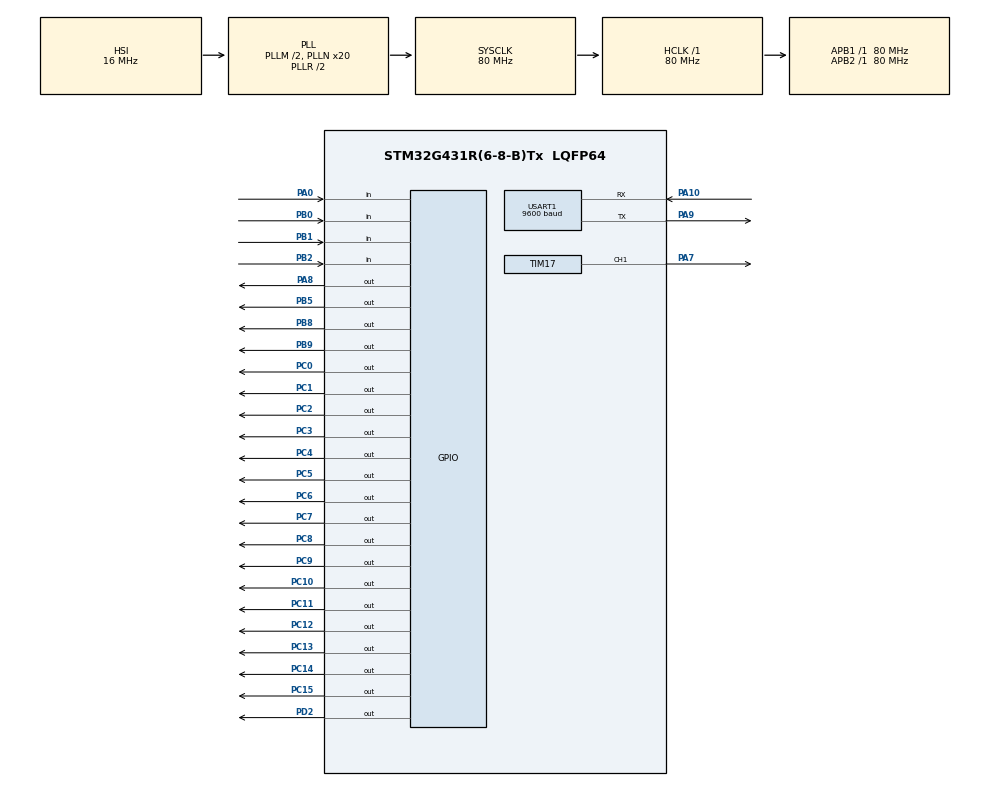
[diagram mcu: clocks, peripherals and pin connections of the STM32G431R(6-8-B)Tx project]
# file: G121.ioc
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Mcu.Family=STM32G4
Mcu.Name=STM32G431R(6-8-B)Tx
Mcu.Package=LQFP64
NVIC.PriorityGroup=NVIC_PRIORITYGROUP_4
NVIC.USART1_IRQn=true\:0\:0\:false\:false\:true\:true\:true\:true
PA0.Signal=GPIO_Input
PA10.Mode=Asynchronous
PA10.Signal=USART1_RX
PA7.Signal=S_TIM17_CH1
PA8.Signal=GPIO_Output
PA9.Mode=Asynchronous
PA9.Signal=USART1_TX
PB0.Signal=GPIO_Input
PB1.Signal=GPIO_Input
PB2.Signal=GPIO_Input
PB5.Signal=GPIO_Output
PB8-BOOT0.Signal=GPIO_Output
PB9.Signal=GPIO_Output
PC0.Signal=GPIO_Output
PC1.Signal=GPIO_Output
PC10.Signal=GPIO_Output
PC11.Signal=GPIO_Output
PC12.Signal=GPIO_Output
PC13.Signal=GPIO_Output
PC14-OSC32_IN.Signal=GPIO_Output
PC15-OSC32_OUT.Signal=GPIO_Output
PC2.Signal=GPIO_Output
PC3.Signal=GPIO_Output
PC4.Signal=GPIO_Output
PC5.Signal=GPIO_Output
PC6.Signal=GPIO_Output
PC7.Signal=GPIO_Output
PC8.Signal=GPIO_Output
PC9.Signal=GPIO_Output
PD2.Signal=GPIO_Output
PF0-OSC_IN.Mode=HSE-External-Oscillator
PF0-OSC_IN.Signal=RCC_OSC_IN
PF1-OSC_OUT.Mode=HSE-External-Oscillator
PF1-OSC_OUT.Signal=RCC_OSC_OUT
ProjectManager.HeapSize=0x200
ProjectManager.StackSize=0x400
ProjectManager.TargetToolchain=MDK-ARM V5
RCC.ADC12Freq_Value=80000000
RCC.AHBFreq_Value=80000000
RCC.APB1Freq_Value=80000000
RCC.APB1TimFreq_Value=80000000
RCC.APB2Freq_Value=80000000
RCC.APB2TimFreq_Value=80000000
RCC.CortexFreq_Value=80000000
RCC.EXTERNAL_CLOCK_VALUE=12288000
RCC.HCLKFreq_Value=80000000
RCC.HSE_VALUE=24000000
RCC.HSI48_VALUE=48000000
RCC.HSI_VALUE=16000000
RCC.LSE_VALUE=32768
RCC.PLLM=RCC_PLLM_DIV2
RCC.PLLN=20
RCC.SYSCLKFreq_VALUE=80000000
RCC.SYSCLKSource=RCC_SYSCLKSOURCE_PLLCLK
RCC.USBFreq_Value=80000000
RCC.VCOOutputFreq_Value=160000000
SH.S_TIM17_CH1.0=TIM17_CH1,PWM Generation1 CH1
TIM17.Channel=TIM_CHANNEL_1
TIM17.PeriodNoDither=999
TIM17.Prescaler=79
TIM17.PulseNoDither_1=500
USART1.BaudRate=9600
USART1.VirtualMode-Asynchronous=VM_ASYNC
VP_SYS_VS_DBSignals.Mode=DisableDeadBatterySignals
VP_TIM17_VS_ClockSourceINT.Mode=Enable_Timer
board=custom

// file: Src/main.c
/* USER CODE BEGIN Header */
/**
  ******************************************************************************
  * @file           : main.c
  * @brief          : Main program body
  ******************************************************************************
  * @attention
  *
  * <h2><center>&copy; Copyright (c) 2021 STMicroelectronics.
  * All rights reserved.</center></h2>
  *
  * This software component is licensed by ST under BSD 3-Clause license,
  * the "License"; You may not use this file except in compliance with the
  * License. You may obtain a copy of the License at:
  *                        opensource.org/licenses/BSD-3-Clause
  *
  ******************************************************************************
  */
/* USER CODE END Header */

#include "main.h"
#include "tim.h"
#include "usart.h"
#include "gpio.h"

/* USER CODE BEGIN Includes */
#include "led.h"
#include "key.h"
#include "stdio.h"
#include "string.h"
#include "math.h"

/* USER CODE END Includes */

void SystemClock_Config(void);

/* USER CODE BEGIN 0 */
#define Display_Data 0
#define Display_Para 1

u8 Dispaly_Mode = 0;

//1

u8 CNBR = 0;
u8 VNBR = 0;
u8 IDLE = 8;

//2

double CNBR_F = 3.5;
double VNBR_F = 2.0;

//PWM
_Bool pwm_flag = 1;

//计费系统
typedef struct
{
	u8 type[5];//这里数据个数必须必存放数据大一位，最后一位用来结束该地址储存
	u8 code[5];

	u8 in_year;
	u8 in_mouth;
	u8 in_day;
	u8 in_hour;
	u8 in_min;
	u8 in_sec;
	u8 pos; //该车的当前车位
}car;

car in_car[10] = {0};//存放每个入库车的数据

//KEY
uint32_t keyTick = 0;
void Key_Process(void)
{
	if(uwTick - keyTick < 20) return;
	keyTick = uwTick;
	Key_Read();

	if(Trg & 0x01)
	{
		LCD_Clear(Black);
		Dispaly_Mode = (Dispaly_Mode + 1) % 2;
	}

	if(Trg & 0x02)
	{
		if(Dispaly_Mode == Display_Para)
		{
			CNBR_F += 0.5;
			VNBR_F +=0.5;
		}
	}

	if(Trg & 0x04)
	{
		if(Dispaly_Mode == Display_Para)
		{

			CNBR_F -= 0.5;
			VNBR_F -=0.5; //减到0
			if(VNBR_F < 0)
			{
				CNBR_F = 1.5;
				VNBR_F =0;
			}

		}
	}

	if(Trg & 0x08)
		pwm_flag = !pwm_flag;

}

//PA7
void PWM_Process(void)
{
	if(pwm_flag == 0)
	{
		TIM17->ARR = 499;
	  TIM17->CCR1 = (TIM17->ARR + 1)* 0.2;
	}
	else
	{
		TIM17->ARR = 499;
	  TIM17->CCR1 = 0; //输出高低电平，直接写0和写满比较保险

		//or
		//HAL_GPIO_WritePin(GPIOA,GPIO_PIN_7,GPIO_PIN_RESET);
		//_HAL_TIM_SetCompare(&htim17,TIM_CHANNEL_1,0);
	}

}

//UART
//发
u8 tx_buf[100] = {"世界"};

int fputc(int ch, FILE *f)
{
  /* Your implementation of fputc(). */
	HAL_UART_Transmit(&huart1,(u8 *)&ch,1,50);
  return ch;
}

//收
u8 uart_buf[2];
u8 rx_cnt = 0;
u8 rx_buf[100];

uint32_t uartTick = 0;
void Rx_Idle(void)
{
	if(uwTick - uartTick < 50) return;
	uartTick = uwTick;

	if(rx_cnt > 0)
	{
		if(rx_cnt != 22)
			printf("Lenth error\r\n");

		rx_cnt = 0;
		memset(rx_buf,'\0',sizeof(rx_buf));
	}

}

//VNBR:D583: 2  0  0  2  0   2  1  3  2  5  0 0
//0123456789 10 11 12 13 14 15 16 17 18 19 20 21
//共计22个字符

//检查字符合格 0 不合格，1 合格
u8 Check_Form(u8* str)
{
	u8 i;
	if((str[0] == 'C' || str[0] == 'V') && str[4] == ':' && str[9] == ':' && str[1] == 'N' && str[2] == 'B'&& str[3] == 'R')
	{
		//code
		for(i = 5;i<9;i++)
		{
			if(str[i] >='a' && str[i] <='z')
				continue;

			if(str[i] >='A' && str[i] <='Z')
				continue;

			if(str[i] >='0' && str[i] <='9')
				continue;

			return 0;
		}

		for(i = 10;i<22;i++)
		{
			if(str[i] >='0' && str[i] <= '9')
				continue;
			else
				return 0;
		}

		return 1;
	}

	return 0;
}

//入库出库检查 0 入库， 1出库
//VNBR:D583: 2  0  0  2  0   2  1  3  2  5  0 0
//0123456789 10 11 12 13 14 15 16 17 18 19 20
u8 Check_In_Out(u8* str)
{
	u8 i;
	for(i = 0;i<8;i++)
	{
		if(in_car[i].code[0] == str[5] && in_car[i].code[1] == str[6] && in_car[i].code[2] == str[7] && in_car[i].code[3] == str[8])
		{
			return 1;
		}
	}

	return 0;
}
u8 temp_type[4];

u8 temp_code[4];

u8 temp_year;
u8 temp_mouth;
u8 temp_day;
u8 temp_hour;
u8 temp_min;
u8 temp_sec;
double hour_sum;
double fee;
//VNBR:D583:200202132500
//0123456789 10 11 12 13 14 15 16 17 18 19 20 2
void HAL_UART_RxCpltCallback(UART_HandleTypeDef *huart)
{
  uartTick = uwTick;
	HAL_UART_Receive_IT(&huart1,uart_buf,1);

	rx_buf[rx_cnt++] = uart_buf[0];

	if(rx_cnt == 22)
	{
		rx_cnt = 0;
		//printf("%d\r\n",Check_Form(rx_buf));
		if(Check_Form(rx_buf)) //格式判断
		{
			//逻辑判断
			temp_year = (rx_buf[10] - '0')*10 + (rx_buf[11] - '0');
			temp_mouth = (rx_buf[12] - '0')*10 + (rx_buf[13] - '0');
			temp_day = (rx_buf[14] - '0')*10 + (rx_buf[15] - '0');
			temp_hour = (rx_buf[16] - '0')*10 + (rx_buf[17] - '0');
			temp_min = (rx_buf[18] - '0')*10 + (rx_buf[19] - '0');
			temp_sec = (rx_buf[20] - '0')*10 + (rx_buf[21] - '0');

			if(temp_mouth > 12 || temp_day > 30 || temp_hour >23 || temp_min > 59 || temp_sec > 59)
			{
				printf("logic error\r\n");
			}
			else
			{
				//出库
				if(Check_In_Out(rx_buf))
				{
					//printf("not1");
					u8 i;
					for(i = 0;i<(8-IDLE);i++)
					{
							if(in_car[i].code[0] == rx_buf[5] && in_car[i].code[1] == rx_buf[6] && in_car[i].code[2] == rx_buf[7] && in_car[i].code[3] == rx_buf[8]) //找到出库的车了
							{
								//计算费用
								hour_sum = (temp_year - in_car[i].in_year)*12*30*24 + (temp_mouth - in_car[i].in_mouth)*30*24 +
								(temp_day - in_car[i].in_day)*24 + (temp_hour - in_car[i].in_hour)+(temp_min - in_car[i].in_min)/60.0f +
								(temp_sec - in_car[i].in_sec)/3600.0f;

								hour_sum = ceil(hour_sum);//向上取整

								if(hour_sum < 0)
								{
									printf("tim error\r\n");
									return;
								}

								if(rx_buf[0] == 'C')
								{
									fee = hour_sum * CNBR_F;
									CNBR--;
								}
								if(rx_buf[0] == 'V')
								{
									fee = hour_sum * VNBR_F;
									VNBR--;
								}
								IDLE++;

								printf("%s:%s:%.0f:%5.2f\r\n",in_car[i].type,in_car[i].code,hour_sum,fee); //若不限制几位，则用.0f
								memset(&in_car[i],'\0' ,sizeof(in_car[i]));//清除该车位的信息

							}

					}

				}
				//入库
				else
				{

					//还有车位
					if(IDLE > 0)
					{
							u8 i;
							for(i = 0;i<4;i++) //问题，结构体的储存控件连续
							{
								in_car[8 - IDLE].type[i] = rx_buf[i];
								in_car[8 - IDLE].code[i] = rx_buf[i+5];
							}

							in_car[8 - IDLE].in_year = temp_year;
							in_car[8 - IDLE].in_mouth = temp_mouth;
							in_car[8 - IDLE].in_day = temp_day;
							in_car[8 - IDLE].in_hour = temp_hour;
							in_car[8 - IDLE].in_min = temp_min;
							in_car[8 - IDLE].in_sec = temp_sec;
							in_car[8 - IDLE].pos = 8-IDLE;

							IDLE--;
							if(rx_buf[0] == 'C')
							{
								CNBR++;
							}

							if(rx_buf[0] == 'V')
							{
								VNBR++;
							}
					}

				}
			}

		}
		else
			printf("form error\r\n");

	}
}

//LCD
uint32_t lcdTick = 0;
void LCD_Process(void)
{
	if(uwTick - lcdTick < 100) return;
	lcdTick = uwTick;

	u8 display_buf[30];

	if(Dispaly_Mode == Display_Data)
	{
		sprintf((char *)display_buf,"       Data ");
		LCD_DisplayStringLine(Line1,display_buf);

		sprintf((char *)display_buf,"   CNBR:%d",CNBR);
		LCD_DisplayStringLine(Line3,display_buf);

		sprintf((char *)display_buf,"   VNBR:%d",VNBR);//考虑超过10个占位
		LCD_DisplayStringLine(Line5,display_buf);

		sprintf((char *)display_buf,"   IDLE:%d",IDLE);
		LCD_DisplayStringLine(Line7,display_buf);
	}

	if(Dispaly_Mode == Display_Para)
	{
		sprintf((char *)display_buf,"       Para ");
		LCD_DisplayStringLine(Line1,display_buf);

		sprintf((char *)display_buf,"   CNBR:%4.2f",CNBR_F);
		LCD_DisplayStringLine(Line3,display_buf);

		sprintf((char *)display_buf,"   VNBR:%4.2f",VNBR_F);//考虑超过10个占位
		LCD_DisplayStringLine(Line5,display_buf);

	}

}

/* USER CODE END 0 */

int main(void)
{

  /* MCU Configuration--------------------------------------------------------*/

  /* Reset of all peripherals, Initializes the Flash interface and the Systick. */
  HAL_Init();

  /* Configure the system clock */
  SystemClock_Config();

  /* Initialize all configured peripherals */
  MX_GPIO_Init();
  MX_TIM17_Init();
  MX_USART1_UART_Init();
  /* USER CODE BEGIN 2 */

    LCD_Init();

		//PWM
		HAL_TIM_PWM_Start(&htim17,TIM_CHANNEL_1);

		//UART
		HAL_UART_Receive_IT(&huart1,uart_buf,1);

  /* USER CODE END 2 */

  /* Infinite loop */
  /* USER CODE BEGIN WHILE */

    LCD_Clear(Black);
    LCD_SetBackColor(Black);
    LCD_SetTextColor(White);

//    LCD_DrawLine(120, 0, 320, Horizontal);
//    LCD_DrawLine(0, 160, 240, Vertical);
//    HAL_Delay(1000);
//    LCD_Clear(Blue);

//    LCD_DrawRect(70, 210, 100, 100);
//    HAL_Delay(1000);
//    LCD_Clear(Blue);

//    LCD_DrawCircle(120, 160, 50);
//    HAL_Delay(1000);

//    LCD_Clear(Blue);
//    LCD_DisplayStringLine(Line4, (unsigned char *)"    Hello,world.   ");
//    HAL_Delay(1000);

//    LCD_SetBackColor(White);
//    LCD_DisplayStringLine(Line0, (unsigned char *)"                    ");
//    LCD_SetBackColor(Black);
//    LCD_DisplayStringLine(Line1, (unsigned char *)"                    ");
//    LCD_SetBackColor(Grey);
//    LCD_DisplayStringLine(Line2, (unsigned char *)"                    ");
//    LCD_SetBackColor(Blue);
//    LCD_DisplayStringLine(Line3, (unsigned char *)"                    ");
//    LCD_SetBackColor(Blue2);
//    LCD_DisplayStringLine(Line4, (unsigned char *)"                    ");
//    LCD_SetBackColor(Red);
//    LCD_DisplayStringLine(Line5, (unsigned char *)"                    ");
//    LCD_SetBackColor(Magenta);
//    LCD_DisplayStringLine(Line6, (unsigned char *)"                    ");
//    LCD_SetBackColor(Green);
//    LCD_DisplayStringLine(Line7, (unsigned char *)"                    ");
//    LCD_SetBackColor(Cyan);
//    LCD_DisplayStringLine(Line8, (unsigned char *)"                    ");
//    LCD_SetBackColor(Yellow);
//    LCD_DisplayStringLine(Line9, (unsigned char *)"                    ");

		Led_Control(0x00);

//		printf("你好\r\n");
//		HAL_UART_Transmit(&huart1,tx_buf,sizeof(tx_buf),50);
//		printf("%3.1f",floor(3.2));
//		printf("%3.1f",ceil(3.2));
    while (1)
    {
    /* USER CODE END WHILE */

    /* USER CODE BEGIN 3 */
			Key_Process();
			LCD_Process();
			PWM_Process();
			Rx_Idle();
    }
  /* USER CODE END 3 */
}

void SystemClock_Config(void)
{
  RCC_OscInitTypeDef RCC_OscInitStruct = {0};
  RCC_ClkInitTypeDef RCC_ClkInitStruct = {0};
  RCC_PeriphCLKInitTypeDef PeriphClkInit = {0};

  /** Configure the main internal regulator output voltage
  */
  HAL_PWREx_ControlVoltageScaling(PWR_REGULATOR_VOLTAGE_SCALE1);
  /** Initializes the CPU, AHB and APB busses clocks
  */
  RCC_OscInitStruct.OscillatorType = RCC_OSCILLATORTYPE_HSI;
  RCC_OscInitStruct.HSIState = RCC_HSI_ON;
  RCC_OscInitStruct.HSICalibrationValue = RCC_HSICALIBRATION_DEFAULT;
  RCC_OscInitStruct.PLL.PLLState = RCC_PLL_ON;
  RCC_OscInitStruct.PLL.PLLSource = RCC_PLLSOURCE_HSI;
  RCC_OscInitStruct.PLL.PLLM = RCC_PLLM_DIV2;
  RCC_OscInitStruct.PLL.PLLN = 20;
  RCC_OscInitStruct.PLL.PLLP = RCC_PLLP_DIV2;
  RCC_OscInitStruct.PLL.PLLQ = RCC_PLLQ_DIV2;
  RCC_OscInitStruct.PLL.PLLR = RCC_PLLR_DIV2;
  if (HAL_RCC_OscConfig(&RCC_OscInitStruct) != HAL_OK)
  {
    Error_Handler();
  }
  /** Initializes the CPU, AHB and APB busses clocks
  */
  RCC_ClkInitStruct.ClockType = RCC_CLOCKTYPE_HCLK|RCC_CLOCKTYPE_SYSCLK
                              |RCC_CLOCKTYPE_PCLK1|RCC_CLOCKTYPE_PCLK2;
  RCC_ClkInitStruct.SYSCLKSource = RCC_SYSCLKSOURCE_PLLCLK;
  RCC_ClkInitStruct.AHBCLKDivider = RCC_SYSCLK_DIV1;
  RCC_ClkInitStruct.APB1CLKDivider = RCC_HCLK_DIV1;
  RCC_ClkInitStruct.APB2CLKDivider = RCC_HCLK_DIV1;

  if (HAL_RCC_ClockConfig(&RCC_ClkInitStruct, FLASH_LATENCY_3) != HAL_OK)
  {
    Error_Handler();
  }
  /** Initializes the peripherals clocks
  */
  PeriphClkInit.PeriphClockSelection = RCC_PERIPHCLK_USART1;
  PeriphClkInit.Usart1ClockSelection = RCC_USART1CLKSOURCE_PCLK2;
  if (HAL_RCCEx_PeriphCLKConfig(&PeriphClkInit) != HAL_OK)
  {
    Error_Handler();
  }
}

void Error_Handler(void)
{
}

/************************ (C) COPYRIGHT STMicroelectronics *****END OF FILE****/
